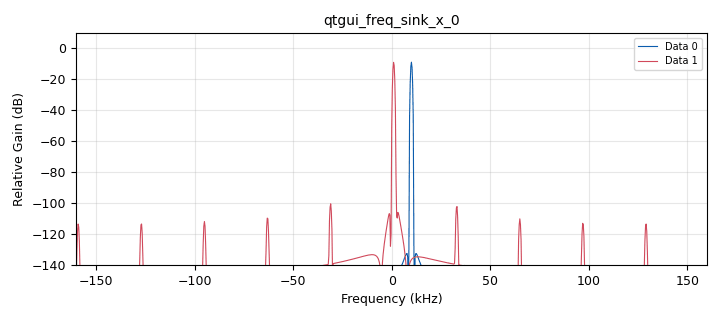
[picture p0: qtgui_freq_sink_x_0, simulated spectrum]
<?xml version='1.0' encoding='utf-8'?>
<?grc format='1' created='3.7.13'?>
<flow_graph>
<block>
<key>options</key>
<param><key>id</key><value>top_block</value></param>
<param><key>generate_options</key><value>qt_gui</value></param>
</block>
<block>
<key>variable</key>
<param><key>id</key><value>samp_rate</value></param>
<param><key>value</key><value>32000</value></param>
</block>
<block>
<key>variable_low_pass_filter_taps</key>
<param><key>id</key><value>taps</value></param>
<param><key>cutoff_freq</key><value>2000</value></param>
<param><key>gain</key><value>10</value></param>
<param><key>samp_rate</key><value>samp_rate</value></param>
<param><key>width</key><value>1000</value></param>
<param><key>win</key><value>firdes.WIN_HAMMING</value></param>
</block>
<block>
<key>analog_sig_source_x</key>
<param><key>id</key><value>analog_sig_source_x_0</value></param>
<param><key>amp</key><value>1</value></param>
<param><key>freq</key><value>1000</value></param>
<param><key>offset</key><value>0</value></param>
<param><key>type</key><value>complex</value></param>
<param><key>samp_rate</key><value>samp_rate</value></param>
<param><key>waveform</key><value>analog.GR_COS_WAVE</value></param>
</block>
<block>
<key>blocks_throttle</key>
<param><key>id</key><value>blocks_throttle_0</value></param>
<param><key>samples_per_second</key><value>samp_rate</value></param>
<param><key>type</key><value>complex</value></param>
</block>
<block>
<key>interp_fir_filter_xxx</key>
<param><key>id</key><value>interp_fir_filter_xxx_0</value></param>
<param><key>_enabled</key><value>0</value></param>
<param><key>interp</key><value>10</value></param>
<param><key>taps</key><value>taps</value></param>
<param><key>type</key><value>ccc</value></param>
</block>
<block>
<key>low_pass_filter</key>
<param><key>id</key><value>low_pass_filter_0</value></param>
<param><key>cutoff_freq</key><value>2000</value></param>
<param><key>decim</key><value>1</value></param>
<param><key>_enabled</key><value>2</value></param>
<param><key>type</key><value>fir_filter_ccf</value></param>
<param><key>gain</key><value>1</value></param>
<param><key>samp_rate</key><value>samp_rate*10</value></param>
<param><key>width</key><value>500</value></param>
<param><key>win</key><value>firdes.WIN_HAMMING</value></param>
</block>
<block>
<key>pfb_interpolator_ccf</key>
<param><key>id</key><value>pfb_interpolator_ccf_0</value></param>
<param><key>atten</key><value>100</value></param>
<param><key>_enabled</key><value>0</value></param>
<param><key>interp</key><value>10</value></param>
</block>
<block>
<key>qtgui_freq_sink_x</key>
<param><key>id</key><value>qtgui_freq_sink_x_0</value></param>
<param><key>bw</key><value>samp_rate*10</value></param>
<param><key>fc</key><value>0</value></param>
<param><key>ctrlpanel</key><value>True</value></param>
<param><key>fftsize</key><value>1024</value></param>
<param><key>label2</key><value></value></param>
<param><key>nconnections</key><value>2</value></param>
<param><key>showports</key><value>True</value></param>
<param><key>type</key><value>complex</value></param>
<param><key>wintype</key><value>firdes.WIN_BLACKMAN_hARRIS</value></param>
</block>
<block>
<key>rational_resampler_xxx</key>
<param><key>id</key><value>rational_resampler_xxx_0</value></param>
<param><key>decim</key><value>1</value></param>
<param><key>_enabled</key><value>0</value></param>
<param><key>interp</key><value>10</value></param>
<param><key>taps</key><value></value></param>
<param><key>type</key><value>ccc</value></param>
</block>
<block>
<key>rational_resampler_xxx</key>
<param><key>id</key><value>rational_resampler_xxx_1</value></param>
<param><key>decim</key><value>1</value></param>
<param><key>interp</key><value>10</value></param>
<param><key>taps</key><value></value></param>
<param><key>type</key><value>ccc</value></param>
</block>
<connection><source_block_id>analog_sig_source_x_0</source_block_id><sink_block_id>blocks_throttle_0</sink_block_id><source_key>0</source_key><sink_key>0</sink_key></connection>
<connection><source_block_id>analog_sig_source_x_0</source_block_id><sink_block_id>rational_resampler_xxx_0</sink_block_id><source_key>0</source_key><sink_key>0</sink_key></connection>
<connection><source_block_id>blocks_throttle_0</source_block_id><sink_block_id>interp_fir_filter_xxx_0</sink_block_id><source_key>0</source_key><sink_key>0</sink_key></connection>
<connection><source_block_id>blocks_throttle_0</source_block_id><sink_block_id>pfb_interpolator_ccf_0</sink_block_id><source_key>0</source_key><sink_key>0</sink_key></connection>
<connection><source_block_id>blocks_throttle_0</source_block_id><sink_block_id>qtgui_freq_sink_x_0</sink_block_id><source_key>0</source_key><sink_key>0</sink_key></connection>
<connection><source_block_id>blocks_throttle_0</source_block_id><sink_block_id>rational_resampler_xxx_1</sink_block_id><source_key>0</source_key><sink_key>0</sink_key></connection>
<connection><source_block_id>interp_fir_filter_xxx_0</source_block_id><sink_block_id>low_pass_filter_0</sink_block_id><source_key>0</source_key><sink_key>0</sink_key></connection>
<connection><source_block_id>low_pass_filter_0</source_block_id><sink_block_id>qtgui_freq_sink_x_0</sink_block_id><source_key>0</source_key><sink_key>1</sink_key></connection>
<connection><source_block_id>pfb_interpolator_ccf_0</source_block_id><sink_block_id>low_pass_filter_0</sink_block_id><source_key>0</source_key><sink_key>0</sink_key></connection>
<connection><source_block_id>rational_resampler_xxx_0</source_block_id><sink_block_id>qtgui_freq_sink_x_0</sink_block_id><source_key>0</source_key><sink_key>0</sink_key></connection>
<connection><source_block_id>rational_resampler_xxx_1</source_block_id><sink_block_id>low_pass_filter_0</sink_block_id><source_key>0</source_key><sink_key>0</sink_key></connection>
</flow_graph>
